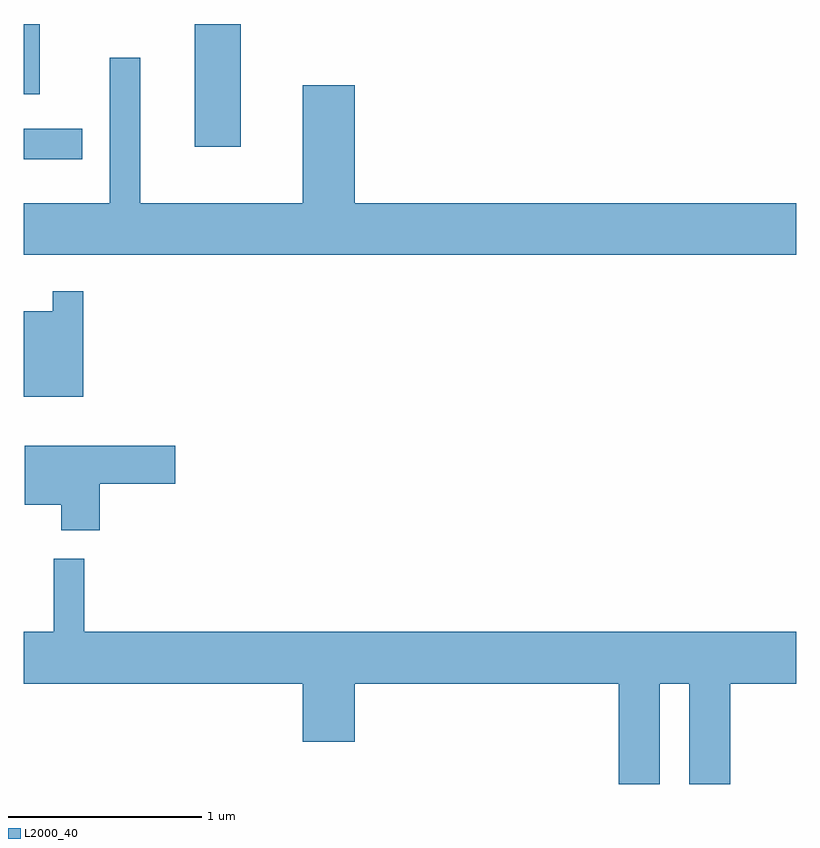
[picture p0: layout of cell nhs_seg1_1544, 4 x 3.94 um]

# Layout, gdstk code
import gdstk
lib = gdstk.Library(unit=1e-6, precision=1e-09)
def R(c, l, rs):  # rectangles x0, y0, x1, y1
    for r in rs: c.add(gdstk.rectangle(r[:2], r[2:], *l))
def P(c, l, *ps):  # polygons
    for p in ps: c.add(gdstk.Polygon(p, *l))
L2000_40 = (2000, 40)

nhs_seg1_1544 = lib.new_cell('nhs_seg1_1544')
R(nhs_seg1_1544, L2000_40, [(233.611,849.011,233.913,849.169), (234.496,849.076,234.734,849.712), (233.611,849.348,233.694,849.712)])
P(nhs_seg1_1544, L2000_40, [(237.611,848.784),(235.324,848.784),(235.324,849.394),(235.056,849.394),(235.056,848.784),(234.214,848.784),(234.214,849.538),(234.056,849.538),(234.056,848.784),(233.611,848.784),(233.611,848.516),(237.611,848.516)],
  [(233.919,848.328),(233.761,848.328),(233.761,848.224),(233.611,848.224),(233.611,847.781),(233.919,847.781)],
  [(234.004,847.331),(234.394,847.331),(234.394,847.529),(233.616,847.529),(233.616,847.221),(233.806,847.221),(233.806,847.091),(234.004,847.091)],
  [(236.904,846.296),(237.056,846.296),(237.056,845.776),(237.269,845.776),(237.269,846.296),(237.611,846.296),(237.611,846.564),(233.924,846.564),(233.924,846.943),(233.766,846.943),(233.766,846.564),(233.611,846.564),(233.611,846.296),(235.056,846.296),(235.056,845.996),(235.324,845.996),(235.324,846.296),(236.691,846.296),(236.691,845.776),(236.904,845.776)])

lib.write_gds('nhs_seg1_1544.gds')
